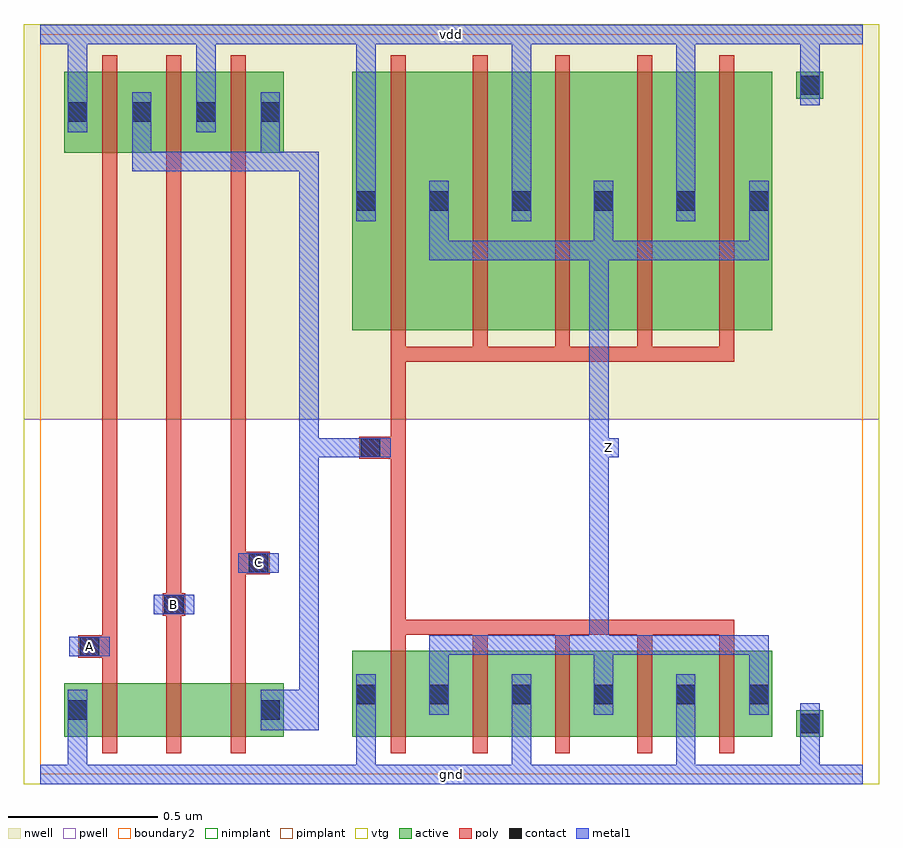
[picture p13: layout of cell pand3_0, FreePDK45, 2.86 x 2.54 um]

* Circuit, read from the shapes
.subckt pand3_0 A B C Z gnd vdd
M1 pnand3_0_0/nmos_m1_w0_180_sm1_dactive_3/D A gnd gnd nfet w=0.18u l=0.05u
M2 pnand3_0_0/nmos_m1_w0_180_sactive_dactive_4/D B pnand3_0_0/nmos_m1_w0_180_sm1_dactive_3/D gnd nfet w=0.18u l=0.05u
M3 pdriver_3_1/A C pnand3_0_0/nmos_m1_w0_180_sactive_dactive_4/D gnd nfet w=0.18u l=0.05u
M4 Z pdriver_3_1/A gnd gnd nfet w=0.2875u l=0.05u m=5
M5 pdriver_3_1/A A vdd vdd pfet w=0.27u l=0.05u
M6 vdd B pdriver_3_1/A vdd pfet w=0.27u l=0.05u
M7 pdriver_3_1/A C vdd vdd pfet w=0.27u l=0.05u
M8 Z pdriver_3_1/A vdd vdd pfet w=0.865u l=0.05u m=5
.ends

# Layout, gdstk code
import gdstk
lib = gdstk.Library(unit=1e-6, precision=5e-10)
def R(c, l, rs):  # rectangles x0, y0, x1, y1
    for r in rs: c.add(gdstk.rectangle(r[:2], r[2:], *l))
def A(c, l, x, y, w, h, nx, ny, dx, dy):  # array of equal rectangles
    R(c, l, [(x+i*dx, y+j*dy, x+i*dx+w, y+j*dy+h) for i in range(nx) for j in range(ny)])
active = (1, 0)
pwell = (2, 0)
nwell = (3, 0)
nimplant = (4, 0)
pimplant = (5, 0)
vtg = (6, 0)
poly = (9, 0)
contact = (10, 0)
metal1 = (11, 0)
boundary2 = (239, 0)

contact_10 = lib.new_cell('contact_10')
R(contact_10, active, [(0,0.0225,0.09,0.1125)])
R(contact_10, nwell, [(-0.055,-0.0325,0.145,0.1675)])
R(contact_10, pimplant, [(0,0.0225,0.09,0.1125)])
R(contact_10, contact, [(0.0125,0.035,0.0775,0.1)])
R(contact_10, metal1, [(0.0125,0,0.0775,0.135)])
R(contact_10, boundary2, [(-0.055,-0.0325,0.145,0.1675)])

pmos_m1_w0_270_sm1_dm1 = lib.new_cell('pmos_m1_w0_270_sm1_dm1')
R(pmos_m1_w0_270_sm1_dm1, active, [(0,0,0.305,0.27)])
R(pmos_m1_w0_270_sm1_dm1, nwell, [(-0.08,-0.08,0.385,0.35)])
R(pmos_m1_w0_270_sm1_dm1, pimplant, [(0,0,0.305,0.27)])
R(pmos_m1_w0_270_sm1_dm1, vtg, [(-0.08,-0.08,0.385,0.35)])
R(pmos_m1_w0_270_sm1_dm1, poly, [(0.1275,-0.055,0.1775,0.325), (0.1275,-0.055,0.1775,0.325)])
R(pmos_m1_w0_270_sm1_dm1, metal1, [(0.0125,0.0675,0.0775,0.2025), (0.2275,0.0675,0.2925,0.2025)])
R(pmos_m1_w0_270_sm1_dm1, boundary2, [(-0.08,-0.08,0.385,0.35)])
pmos_m1_w0_270_sm1_dm1.add(gdstk.Reference(contact_10, (0,0.0675)))
pmos_m1_w0_270_sm1_dm1.add(gdstk.Reference(contact_10, (0.215,0.0675)))
pmos_m1_w0_270_sm1_dm1.add(gdstk.Label('S', (0.045,0.135), layer=11, texttype=0))
pmos_m1_w0_270_sm1_dm1.add(gdstk.Label('D', (0.26,0.135), layer=11, texttype=0))
pmos_m1_w0_270_sm1_dm1.add(gdstk.Label('G', (0.1525,0.135), layer=9, texttype=0))

contact_9 = lib.new_cell('contact_9')
R(contact_9, active, [(0,0.0225,0.09,0.1125)])
R(contact_9, pwell, [(-0.055,-0.0325,0.145,0.1675)])
R(contact_9, nimplant, [(0,0.0225,0.09,0.1125)])
R(contact_9, contact, [(0.0125,0.035,0.0775,0.1)])
R(contact_9, metal1, [(0.0125,0,0.0775,0.135)])
R(contact_9, boundary2, [(-0.055,-0.0325,0.145,0.1675)])

nmos_m1_w0_180_sm1_dacti = lib.new_cell('nmos_m1_w0_180_sm1_dactive')
R(nmos_m1_w0_180_sm1_dacti, active, [(0,0,0.305,0.18), (0.215,0.045,0.305,0.135)])
R(nmos_m1_w0_180_sm1_dacti, pwell, [(-0.08,-0.08,0.385,0.26)])
R(nmos_m1_w0_180_sm1_dacti, nimplant, [(0,0,0.305,0.18)])
R(nmos_m1_w0_180_sm1_dacti, vtg, [(-0.08,-0.08,0.385,0.26)])
R(nmos_m1_w0_180_sm1_dacti, poly, [(0.1275,-0.055,0.1775,0.235), (0.1275,-0.055,0.1775,0.235)])
R(nmos_m1_w0_180_sm1_dacti, metal1, [(0.0125,0.0225,0.0775,0.1575)])
R(nmos_m1_w0_180_sm1_dacti, boundary2, [(-0.08,-0.08,0.385,0.26)])
nmos_m1_w0_180_sm1_dacti.add(gdstk.Reference(contact_9, (0,0.0225)))
nmos_m1_w0_180_sm1_dacti.add(gdstk.Label('S', (0.045,0.09), layer=11, texttype=0))
nmos_m1_w0_180_sm1_dacti.add(gdstk.Label('G', (0.1525,0.09), layer=9, texttype=0))
nmos_m1_w0_180_sm1_dacti.add(gdstk.Label('D', (0.26,0.09), layer=1, texttype=0))

nmos_m1_w0_180_sactive_d = lib.new_cell('nmos_m1_w0_180_sactive_dactive')
R(nmos_m1_w0_180_sactive_d, active, [(0,0,0.305,0.18), (0,0.045,0.09,0.135), (0.215,0.045,0.305,0.135)])
R(nmos_m1_w0_180_sactive_d, pwell, [(-0.08,-0.08,0.385,0.26)])
R(nmos_m1_w0_180_sactive_d, nimplant, [(0,0,0.305,0.18)])
R(nmos_m1_w0_180_sactive_d, vtg, [(-0.08,-0.08,0.385,0.26)])
R(nmos_m1_w0_180_sactive_d, poly, [(0.1275,-0.055,0.1775,0.235), (0.1275,-0.055,0.1775,0.235)])
R(nmos_m1_w0_180_sactive_d, boundary2, [(-0.08,-0.08,0.385,0.26)])
nmos_m1_w0_180_sactive_d.add(gdstk.Label('G', (0.1525,0.09), layer=9, texttype=0))
nmos_m1_w0_180_sactive_d.add(gdstk.Label('S', (0.045,0.09), layer=1, texttype=0))
nmos_m1_w0_180_sactive_d.add(gdstk.Label('D', (0.26,0.09), layer=1, texttype=0))

c_nmos_m1_w0_180_sactive_d = lib.new_cell('nmos_m1_w0_180_sactive_dm1')
R(c_nmos_m1_w0_180_sactive_d, active, [(0,0,0.305,0.18), (0,0.045,0.09,0.135)])
R(c_nmos_m1_w0_180_sactive_d, pwell, [(-0.08,-0.08,0.385,0.26)])
R(c_nmos_m1_w0_180_sactive_d, nimplant, [(0,0,0.305,0.18)])
R(c_nmos_m1_w0_180_sactive_d, vtg, [(-0.08,-0.08,0.385,0.26)])
R(c_nmos_m1_w0_180_sactive_d, poly, [(0.1275,-0.055,0.1775,0.235), (0.1275,-0.055,0.1775,0.235)])
R(c_nmos_m1_w0_180_sactive_d, metal1, [(0.2275,0.0225,0.2925,0.1575)])
R(c_nmos_m1_w0_180_sactive_d, boundary2, [(-0.08,-0.08,0.385,0.26)])
c_nmos_m1_w0_180_sactive_d.add(gdstk.Reference(contact_9, (0.215,0.0225)))
c_nmos_m1_w0_180_sactive_d.add(gdstk.Label('D', (0.26,0.09), layer=11, texttype=0))
c_nmos_m1_w0_180_sactive_d.add(gdstk.Label('G', (0.1525,0.09), layer=9, texttype=0))
c_nmos_m1_w0_180_sactive_d.add(gdstk.Label('S', (0.045,0.09), layer=1, texttype=0))

contact_13 = lib.new_cell('contact_13')
R(contact_13, poly, [(0.03,0,0.105,0.075)])
R(contact_13, contact, [(0.035,0.005,0.1,0.07)])
R(contact_13, metal1, [(0,0.005,0.135,0.07)])
R(contact_13, boundary2, [(0,0,0.135,0.075)])

pnand3_0 = lib.new_cell('pnand3_0')
R(pnand3_0, pwell, [(-0.055,-0.0325,1.02,1.1875)])
R(pnand3_0, nwell, [(-0.055,1.1875,1.02,2.51)])
R(pnand3_0, vtg, [(-0.055,-0.0325,1.02,1.1875), (-0.055,1.1875,1.02,2.51)])
A(pnand3_0, poly, 0.2075, 0.36, 0.05, 1.665, 3, 1, 0.215, 0)
R(pnand3_0, poly, [(0.165,0.39,0.2075,0.465), (0.4225,0.53,0.4475,0.605), (0.6375,0.67,0.73,0.745)])
R(pnand3_0, metal1, [(0,-0.0325,0.965,0.0325), (0.0925,-0.0325,0.1575,0.1475), (0.77,0.1475,0.9,0.2825), (0.8675,0.1475,0.9325,2.05), (0.0975,0.395,0.2325,0.46), (0.38,0.535,0.515,0.6), (0.6625,0.675,0.7975,0.74), (0.3075,2.0175,0.3725,2.0825), (0.34,2.0175,0.9,2.0825), (0.7375,2.0175,0.8025,2.0825), (0.77,2.0175,0.9,2.0825), (0.8675,2.0175,0.9325,2.0825), (0.3075,2.05,0.3725,2.215), (0.7375,2.05,0.8025,2.215), (0.0925,2.1475,0.1575,2.5075), (0.5225,2.1475,0.5875,2.5075), (0,2.4425,0.965,2.5075)])
R(pnand3_0, boundary2, [(0,0,0.965,2.475), (0,0,0.965,2.475)])
pnand3_0.add(gdstk.Reference(pmos_m1_w0_270_sm1_dm1, (0.08,2.08)))
pnand3_0.add(gdstk.Reference(pmos_m1_w0_270_sm1_dm1, (0.295,2.08)))
pnand3_0.add(gdstk.Reference(pmos_m1_w0_270_sm1_dm1, (0.51,2.08)))
pnand3_0.add(gdstk.Reference(nmos_m1_w0_180_sm1_dacti, (0.08,0.125)))
pnand3_0.add(gdstk.Reference(nmos_m1_w0_180_sactive_d, (0.295,0.125)))
pnand3_0.add(gdstk.Reference(c_nmos_m1_w0_180_sactive_d, (0.51,0.125)))
pnand3_0.add(gdstk.Reference(contact_13, (0.0975,0.39)))
pnand3_0.add(gdstk.Reference(contact_13, (0.38,0.53)))
pnand3_0.add(gdstk.Reference(contact_13, (0.6625,0.67)))
pnand3_0.add(gdstk.Label('A', (0.165,0.4275), layer=11, texttype=0))
pnand3_0.add(gdstk.Label('B', (0.4475,0.5675), layer=11, texttype=0))
pnand3_0.add(gdstk.Label('C', (0.73,0.7075), layer=11, texttype=0))
pnand3_0.add(gdstk.Label('Z', (0.9,2.05), layer=11, texttype=0))
pnand3_0.add(gdstk.Label('gnd', (0.4825,0), layer=11, texttype=0))
pnand3_0.add(gdstk.Label('vdd', (0.4825,2.475), layer=11, texttype=0))

pmos_m5_w0_865_sm1_dm1_d = lib.new_cell('pmos_m5_w0_865_sm1_dm1_da_p')
R(pmos_m5_w0_865_sm1_dm1_d, active, [(0,0,1.405,0.865)])
R(pmos_m5_w0_865_sm1_dm1_d, nwell, [(-0.08,-0.08,1.485,0.945)])
R(pmos_m5_w0_865_sm1_dm1_d, pimplant, [(0,0,1.405,0.865)])
R(pmos_m5_w0_865_sm1_dm1_d, vtg, [(-0.08,-0.08,1.485,0.945)])
A(pmos_m5_w0_865_sm1_dm1_d, poly, 0.1275, -0.055, 0.05, 0.975, 5, 1, 0.275, 0)
R(pmos_m5_w0_865_sm1_dm1_d, poly, [(0.1275,-0.105,1.2775,-0.055)])
R(pmos_m5_w0_865_sm1_dm1_d, metal1, [(0.2575,0.235,1.3925,0.3), (0.2575,0.2675,0.3225,0.4325), (0.8075,0.2675,0.8725,0.4325), (1.3275,0.2675,1.3925,0.4325), (0.0125,0.365,0.0775,0.5), (0.5325,0.365,0.5975,0.5), (1.0825,0.365,1.1475,0.5)])
R(pmos_m5_w0_865_sm1_dm1_d, boundary2, [(-0.08,-0.105,1.485,0.945)])
pmos_m5_w0_865_sm1_dm1_d.add(gdstk.Reference(contact_10, (0,0.365)))
pmos_m5_w0_865_sm1_dm1_d.add(gdstk.Reference(contact_10, (0.245,0.365)))
pmos_m5_w0_865_sm1_dm1_d.add(gdstk.Reference(contact_10, (0.52,0.365)))
pmos_m5_w0_865_sm1_dm1_d.add(gdstk.Reference(contact_10, (0.795,0.365)))
pmos_m5_w0_865_sm1_dm1_d.add(gdstk.Reference(contact_10, (1.07,0.365)))
pmos_m5_w0_865_sm1_dm1_d.add(gdstk.Reference(contact_10, (1.315,0.365)))
pmos_m5_w0_865_sm1_dm1_d.add(gdstk.Label('S', (0.045,0.4325), layer=11, texttype=0))
pmos_m5_w0_865_sm1_dm1_d.add(gdstk.Label('S', (1.115,0.4325), layer=11, texttype=0))
pmos_m5_w0_865_sm1_dm1_d.add(gdstk.Label('S', (0.565,0.4325), layer=11, texttype=0))
pmos_m5_w0_865_sm1_dm1_d.add(gdstk.Label('D', (0.825,0.2675), layer=11, texttype=0))
pmos_m5_w0_865_sm1_dm1_d.add(gdstk.Label('G', (0.7025,-0.08), layer=9, texttype=0))

nmos_m5_w0_288_sm1_dm1_d = lib.new_cell('nmos_m5_w0_288_sm1_dm1_da_p')
R(nmos_m5_w0_288_sm1_dm1_d, active, [(0,0,1.405,0.2875)])
R(nmos_m5_w0_288_sm1_dm1_d, pwell, [(-0.08,-0.08,1.485,0.3675)])
R(nmos_m5_w0_288_sm1_dm1_d, nimplant, [(0,0,1.405,0.2875)])
R(nmos_m5_w0_288_sm1_dm1_d, vtg, [(-0.08,-0.08,1.485,0.3675)])
A(nmos_m5_w0_288_sm1_dm1_d, poly, 0.1275, -0.055, 0.05, 0.3975, 5, 1, 0.275, 0)
R(nmos_m5_w0_288_sm1_dm1_d, poly, [(0.1275,0.3425,1.2775,0.3925)])
R(nmos_m5_w0_288_sm1_dm1_d, metal1, [(0.0125,0.075,0.0775,0.21), (0.5325,0.075,0.5975,0.21), (1.0825,0.075,1.1475,0.21), (0.2575,0.145,0.3225,0.31), (0.8075,0.145,0.8725,0.31), (1.3275,0.145,1.3925,0.31), (0.2575,0.275,1.3925,0.34)])
R(nmos_m5_w0_288_sm1_dm1_d, boundary2, [(-0.08,-0.08,1.485,0.3925)])
nmos_m5_w0_288_sm1_dm1_d.add(gdstk.Reference(contact_9, (0,0.075)))
nmos_m5_w0_288_sm1_dm1_d.add(gdstk.Reference(contact_9, (0.245,0.075)))
nmos_m5_w0_288_sm1_dm1_d.add(gdstk.Reference(contact_9, (0.52,0.075)))
nmos_m5_w0_288_sm1_dm1_d.add(gdstk.Reference(contact_9, (0.795,0.075)))
nmos_m5_w0_288_sm1_dm1_d.add(gdstk.Reference(contact_9, (1.07,0.075)))
nmos_m5_w0_288_sm1_dm1_d.add(gdstk.Reference(contact_9, (1.315,0.075)))
nmos_m5_w0_288_sm1_dm1_d.add(gdstk.Label('S', (0.045,0.1425), layer=11, texttype=0))
nmos_m5_w0_288_sm1_dm1_d.add(gdstk.Label('S', (0.565,0.1425), layer=11, texttype=0))
nmos_m5_w0_288_sm1_dm1_d.add(gdstk.Label('S', (1.115,0.1425), layer=11, texttype=0))
nmos_m5_w0_288_sm1_dm1_d.add(gdstk.Label('D', (0.825,0.3075), layer=11, texttype=0))
nmos_m5_w0_288_sm1_dm1_d.add(gdstk.Label('G', (0.7025,0.3675), layer=9, texttype=0))

contact_11 = lib.new_cell('contact_11')
R(contact_11, active, [(0,0.0225,0.09,0.1125)])
R(contact_11, nwell, [(-0.055,-0.0325,0.145,0.1675)])
R(contact_11, nimplant, [(0,0.0225,0.09,0.1125)])
R(contact_11, contact, [(0.0125,0.035,0.0775,0.1)])
R(contact_11, metal1, [(0.0125,0,0.0775,0.135)])
R(contact_11, boundary2, [(-0.055,-0.0325,0.145,0.1675)])

contact_12 = lib.new_cell('contact_12')
R(contact_12, active, [(0,0.0225,0.09,0.1125)])
R(contact_12, pwell, [(-0.055,-0.0325,0.145,0.1675)])
R(contact_12, pimplant, [(0,0.0225,0.09,0.1125)])
R(contact_12, contact, [(0.0125,0.035,0.0775,0.1)])
R(contact_12, metal1, [(0.0125,0,0.0775,0.135)])
R(contact_12, boundary2, [(-0.055,-0.0325,0.145,0.1675)])

pinv_11 = lib.new_cell('pinv_11')
R(pinv_11, pwell, [(-0.055,-0.0325,1.8425,1.1875)])
R(pinv_11, nwell, [(-0.055,1.1875,1.8425,2.51)])
R(pinv_11, vtg, [(-0.055,-0.0325,1.8425,1.1875), (-0.055,1.1875,1.8425,2.51)])
R(pinv_11, poly, [(0.2075,0.5175,0.2575,1.38), (0.14,1.055,0.2075,1.13)])
R(pinv_11, metal1, [(0,-0.0325,1.7875,0.0325), (0.0925,-0.0325,0.1575,0.2), (0.6125,-0.0325,0.6775,0.2), (1.1625,-0.0325,1.2275,0.2), (1.5775,0,1.6425,0.17), (0.8725,0.4,0.9375,1.785), (0.0725,1.06,0.2075,1.125), (0.905,1.06,0.97,1.125), (0.0925,1.85,0.1575,2.5075), (0.6125,1.85,0.6775,2.5075), (1.1625,1.85,1.2275,2.5075), (1.5775,2.305,1.6425,2.475), (0,2.4425,1.7875,2.5075)])
R(pinv_11, boundary2, [(0,0,1.7875,2.475), (0,0,1.7875,2.475)])
pinv_11.add(gdstk.Reference(pmos_m5_w0_865_sm1_dm1_d, (0.08,1.485)))
pinv_11.add(gdstk.Reference(nmos_m5_w0_288_sm1_dm1_d, (0.08,0.125)))
pinv_11.add(gdstk.Reference(contact_11, (1.565,2.2375)))
pinv_11.add(gdstk.Reference(contact_12, (1.565,0.1025)))
pinv_11.add(gdstk.Reference(contact_13, (0.0725,1.055)))
pinv_11.add(gdstk.Label('A', (0.14,1.0925), layer=11, texttype=0))
pinv_11.add(gdstk.Label('Z', (0.9375,1.0925), layer=11, texttype=0))
pinv_11.add(gdstk.Label('gnd', (0.894,0), layer=11, texttype=0))
pinv_11.add(gdstk.Label('vdd', (0.894,2.475), layer=11, texttype=0))

pdriver_3 = lib.new_cell('pdriver_3')
R(pdriver_3, pwell, [(-0.055,-0.0325,1.8425,1.1875)])
R(pdriver_3, nwell, [(-0.055,1.1875,1.8425,2.51)])
R(pdriver_3, vtg, [(-0.055,-0.0325,1.8425,1.1875), (-0.055,1.1875,1.8425,2.51)])
R(pdriver_3, metal1, [(0,-0.0325,1.7875,0.0325), (0.0725,1.06,0.2075,1.125), (0.905,1.06,0.97,1.125), (0,2.4425,1.7875,2.5075)])
R(pdriver_3, boundary2, [(0,0,1.7875,2.475), (0,0,1.7875,2.475)])
pdriver_3.add(gdstk.Reference(pinv_11, (0,0)))
pdriver_3.add(gdstk.Label('Z', (0.9375,1.0925), layer=11, texttype=0))
pdriver_3.add(gdstk.Label('A', (0.14,1.0925), layer=11, texttype=0))
pdriver_3.add(gdstk.Label('gnd', (0.894,0), layer=11, texttype=0))
pdriver_3.add(gdstk.Label('vdd', (0.894,2.475), layer=11, texttype=0))

pand3_0 = lib.new_cell('pand3_0')
R(pand3_0, metal1, [(0,-0.0325,2.7525,0.0325), (0.0975,0.395,0.2325,0.46), (0.38,0.535,0.515,0.6), (0.6625,0.675,0.7975,0.74), (0.8675,1.06,0.9325,1.125), (0.9,1.06,1.105,1.125), (1.87,1.06,1.935,1.125), (0.8675,1.0925,0.9325,2.05), (0,2.4425,2.7525,2.5075)])
R(pand3_0, boundary2, [(0,0,2.7525,2.475), (0,0,2.7525,2.475)])
pand3_0.add(gdstk.Reference(pnand3_0, (0,0)))
pand3_0.add(gdstk.Reference(pdriver_3, (0.965,0)))
pand3_0.add(gdstk.Label('Z', (1.9025,1.0925), layer=11, texttype=0))
pand3_0.add(gdstk.Label('A', (0.165,0.4275), layer=11, texttype=0))
pand3_0.add(gdstk.Label('B', (0.4475,0.5675), layer=11, texttype=0))
pand3_0.add(gdstk.Label('C', (0.73,0.7075), layer=11, texttype=0))
pand3_0.add(gdstk.Label('gnd', (1.376,0), layer=11, texttype=0))
pand3_0.add(gdstk.Label('vdd', (1.376,2.475), layer=11, texttype=0))

lib.write_gds('pand3_0.gds')
